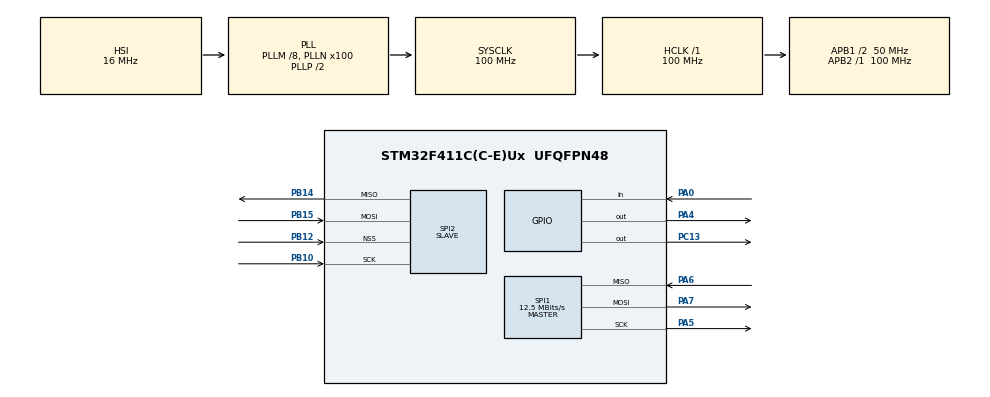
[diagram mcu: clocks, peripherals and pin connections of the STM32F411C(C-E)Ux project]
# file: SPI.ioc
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Mcu.Family=STM32F4
Mcu.Name=STM32F411C(C-E)Ux
Mcu.Package=UFQFPN48
NVIC.PriorityGroup=NVIC_PRIORITYGROUP_4
NVIC.SPI1_IRQn=true\:0\:0\:false\:false\:true\:true\:true\:true
NVIC.SPI2_IRQn=true\:0\:0\:true\:false\:true\:true\:true\:true
PA0-WKUP.GPIO_PuPd=GPIO_PULLUP
PA0-WKUP.Signal=GPIO_Input
PA13.Mode=Serial_Wire
PA13.Signal=SYS_JTMS-SWDIO
PA14.Mode=Serial_Wire
PA14.Signal=SYS_JTCK-SWCLK
PA4.Signal=GPIO_Output
PA5.Mode=Full_Duplex_Master
PA5.Signal=SPI1_SCK
PA6.Mode=Full_Duplex_Master
PA6.Signal=SPI1_MISO
PA7.Mode=Full_Duplex_Master
PA7.Signal=SPI1_MOSI
PB10.Mode=Full_Duplex_Slave
PB10.Signal=SPI2_SCK
PB12.Mode=NSS_Signal_Hard_Input
PB12.Signal=SPI2_NSS
PB14.Mode=Full_Duplex_Slave
PB14.Signal=SPI2_MISO
PB15.Mode=Full_Duplex_Slave
PB15.Signal=SPI2_MOSI
PC13-ANTI_TAMP.Signal=GPIO_Output
PH0\ -\ OSC_IN.Mode=HSE-External-Oscillator
PH0\ -\ OSC_IN.Signal=RCC_OSC_IN
PH1\ -\ OSC_OUT.Mode=HSE-External-Oscillator
PH1\ -\ OSC_OUT.Signal=RCC_OSC_OUT
ProjectManager.HeapSize=0x200
ProjectManager.StackSize=0x400
ProjectManager.TargetToolchain=STM32CubeIDE
RCC.48MHZClocksFreq_Value=50000000
RCC.AHBFreq_Value=100000000
RCC.APB1CLKDivider=RCC_HCLK_DIV2
RCC.APB1Freq_Value=50000000
RCC.APB1TimFreq_Value=100000000
RCC.APB2Freq_Value=100000000
RCC.APB2TimFreq_Value=100000000
RCC.CortexFreq_Value=100000000
RCC.HCLKFreq_Value=100000000
RCC.HSE_VALUE=25000000
RCC.HSI_VALUE=16000000
RCC.LSE_VALUE=32768
RCC.PLLM=8
RCC.PLLN=100
RCC.SYSCLKFreq_VALUE=100000000
RCC.SYSCLKSource=RCC_SYSCLKSOURCE_PLLCLK
RCC.VCOOutputFreq_Value=200000000
SPI1.BaudRatePrescaler=SPI_BAUDRATEPRESCALER_8
SPI1.CalculateBaudRate=12.5 MBits/s
SPI1.Direction=SPI_DIRECTION_2LINES
SPI1.Mode=SPI_MODE_MASTER
SPI1.VirtualType=VM_MASTER
SPI2.Direction=SPI_DIRECTION_2LINES
SPI2.Mode=SPI_MODE_SLAVE
SPI2.VirtualNSS=VM_NSSHARD
SPI2.VirtualType=VM_SLAVE
board=custom

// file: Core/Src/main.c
/* USER CODE BEGIN Header */
/**
  ******************************************************************************
  * @file           : main.c
  * @brief          : Main program body
  ******************************************************************************
  * @attention
  *
  * Copyright (c) 2023 STMicroelectronics.
  * All rights reserved.
  *
  * This software is licensed under terms that can be found in the LICENSE file
  * in the root directory of this software component.
  * If no LICENSE file comes with this software, it is provided AS-IS.
  *
  ******************************************************************************
  */
/* USER CODE END Header */
#include "main.h"

SPI_HandleTypeDef hspi1;
SPI_HandleTypeDef hspi2;

/* USER CODE BEGIN PV */
uint8_t current_state = 1;
uint8_t last_state = 1;
uint8_t deboucing_state = 1;
uint8_t is_deboucing = 0;
uint32_t deboucing_timer = 0;

uint8_t txBuffer = 0;
uint8_t condition_tx = 0;
uint8_t rxBuffer;
uint8_t SPI_buf;
/* USER CODE END PV */

void SystemClock_Config(void);
static void MX_GPIO_Init(void);
static void MX_SPI1_Init(void);
static void MX_SPI2_Init(void);

/* USER CODE BEGIN 0 */
void TX_SPI()
{

	HAL_GPIO_WritePin(GPIOA, GPIO_PIN_4, GPIO_PIN_RESET);
	HAL_SPI_Transmit(&hspi1, &txBuffer, 1, 100);
	HAL_GPIO_WritePin(GPIOA, GPIO_PIN_4, GPIO_PIN_SET);

}
void BUTTON_Handle()
{
	//detecting
	uint8_t temp_state = HAL_GPIO_ReadPin(GPIOA, GPIO_PIN_0);
	if(temp_state != deboucing_state)
	{
		deboucing_state = temp_state;
		deboucing_timer = HAL_GetTick();
		is_deboucing = 1;
	}

	//debouncing
	if(is_deboucing == 1 && (HAL_GetTick() - deboucing_timer ) >= 15)
	{
		current_state = deboucing_state;
		is_deboucing = 0;
	}

	if(current_state != last_state)
	{
		if(current_state == 0)
		{
			txBuffer = 1;
		}
		else
		{
			txBuffer = 0;
		}
		last_state = current_state;
	}

}
void HAL_SPI_RxCpltCallback(SPI_HandleTypeDef *hspi)
{
	if(hspi->Instance == SPI2)
	{
		SPI_buf = rxBuffer;
		HAL_SPI_Receive_IT(&hspi2, &rxBuffer, 1);
	}
}
void LED_Handle()
{
	if(SPI_buf)
	{
		HAL_GPIO_WritePin(GPIOC, GPIO_PIN_13, 0);
	}
	else
	{
		HAL_GPIO_WritePin(GPIOC, GPIO_PIN_13, 1);
	}
}
/* USER CODE END 0 */

int main(void)
{

  /* MCU Configuration--------------------------------------------------------*/

  /* Reset of all peripherals, Initializes the Flash interface and the Systick. */
  HAL_Init();

  /* USER CODE BEGIN Init *

  /* USER CODE END Init */

  /* Configure the system clock */
  SystemClock_Config();

  /* Initialize all configured peripherals */
  MX_GPIO_Init();
  MX_SPI1_Init();
  MX_SPI2_Init();
  /* USER CODE BEGIN 2 */
	HAL_SPI_Receive_IT(&hspi2, &rxBuffer, 1);
//	HAL_SPI_Transmit(&hspi1, &txBuffer, 1, 100);

  /* USER CODE END 2 */

  /* Infinite loop */
  while (1)
  {

    /* USER CODE BEGIN 3 */
//	  HAL_GPIO_WritePin(GPIOC, GPIO_PIN_13, 1);
	  BUTTON_Handle();
	  TX_SPI();
	  LED_Handle();
  }
  /* USER CODE END 3 */
}

void SystemClock_Config(void)
{
  RCC_OscInitTypeDef RCC_OscInitStruct = {0};
  RCC_ClkInitTypeDef RCC_ClkInitStruct = {0};

  /** Configure the main internal regulator output voltage
  */
  __HAL_RCC_PWR_CLK_ENABLE();
  __HAL_PWR_VOLTAGESCALING_CONFIG(PWR_REGULATOR_VOLTAGE_SCALE1);

  /** Initializes the RCC Oscillators according to the specified parameters
  * in the RCC_OscInitTypeDef structure.
  */
  RCC_OscInitStruct.OscillatorType = RCC_OSCILLATORTYPE_HSI;
  RCC_OscInitStruct.HSIState = RCC_HSI_ON;
  RCC_OscInitStruct.HSICalibrationValue = RCC_HSICALIBRATION_DEFAULT;
  RCC_OscInitStruct.PLL.PLLState = RCC_PLL_ON;
  RCC_OscInitStruct.PLL.PLLSource = RCC_PLLSOURCE_HSI;
  RCC_OscInitStruct.PLL.PLLM = 8;
  RCC_OscInitStruct.PLL.PLLN = 100;
  RCC_OscInitStruct.PLL.PLLP = RCC_PLLP_DIV2;
  RCC_OscInitStruct.PLL.PLLQ = 4;
  if (HAL_RCC_OscConfig(&RCC_OscInitStruct) != HAL_OK)
  {
    Error_Handler();
  }

  /** Initializes the CPU, AHB and APB buses clocks
  */
  RCC_ClkInitStruct.ClockType = RCC_CLOCKTYPE_HCLK|RCC_CLOCKTYPE_SYSCLK
                              |RCC_CLOCKTYPE_PCLK1|RCC_CLOCKTYPE_PCLK2;
  RCC_ClkInitStruct.SYSCLKSource = RCC_SYSCLKSOURCE_PLLCLK;
  RCC_ClkInitStruct.AHBCLKDivider = RCC_SYSCLK_DIV1;
  RCC_ClkInitStruct.APB1CLKDivider = RCC_HCLK_DIV2;
  RCC_ClkInitStruct.APB2CLKDivider = RCC_HCLK_DIV1;

  if (HAL_RCC_ClockConfig(&RCC_ClkInitStruct, FLASH_LATENCY_3) != HAL_OK)
  {
    Error_Handler();
  }
}

static void MX_SPI1_Init(void)
{

  /* SPI1 parameter configuration*/
  hspi1.Instance = SPI1;
  hspi1.Init.Mode = SPI_MODE_MASTER;
  hspi1.Init.Direction = SPI_DIRECTION_2LINES;
  hspi1.Init.DataSize = SPI_DATASIZE_8BIT;
  hspi1.Init.CLKPolarity = SPI_POLARITY_LOW;
  hspi1.Init.CLKPhase = SPI_PHASE_1EDGE;
  hspi1.Init.NSS = SPI_NSS_SOFT;
  hspi1.Init.BaudRatePrescaler = SPI_BAUDRATEPRESCALER_8;
  hspi1.Init.FirstBit = SPI_FIRSTBIT_MSB;
  hspi1.Init.TIMode = SPI_TIMODE_DISABLE;
  hspi1.Init.CRCCalculation = SPI_CRCCALCULATION_DISABLE;
  hspi1.Init.CRCPolynomial = 10;
  if (HAL_SPI_Init(&hspi1) != HAL_OK)
  {
    Error_Handler();
  }

}

static void MX_SPI2_Init(void)
{

  /* SPI2 parameter configuration*/
  hspi2.Instance = SPI2;
  hspi2.Init.Mode = SPI_MODE_SLAVE;
  hspi2.Init.Direction = SPI_DIRECTION_2LINES;
  hspi2.Init.DataSize = SPI_DATASIZE_8BIT;
  hspi2.Init.CLKPolarity = SPI_POLARITY_LOW;
  hspi2.Init.CLKPhase = SPI_PHASE_1EDGE;
  hspi2.Init.NSS = SPI_NSS_HARD_INPUT;
  hspi2.Init.FirstBit = SPI_FIRSTBIT_MSB;
  hspi2.Init.TIMode = SPI_TIMODE_DISABLE;
  hspi2.Init.CRCCalculation = SPI_CRCCALCULATION_DISABLE;
  hspi2.Init.CRCPolynomial = 10;
  if (HAL_SPI_Init(&hspi2) != HAL_OK)
  {
    Error_Handler();
  }

}

static void MX_GPIO_Init(void)
{
  GPIO_InitTypeDef GPIO_InitStruct = {0};

  /* GPIO Ports Clock Enable */
  __HAL_RCC_GPIOC_CLK_ENABLE();
  __HAL_RCC_GPIOH_CLK_ENABLE();
  __HAL_RCC_GPIOA_CLK_ENABLE();
  __HAL_RCC_GPIOB_CLK_ENABLE();

  /*Configure GPIO pin Output Level */
  HAL_GPIO_WritePin(GPIOC, GPIO_PIN_13, GPIO_PIN_RESET);

  /*Configure GPIO pin Output Level */
  HAL_GPIO_WritePin(GPIOA, GPIO_PIN_4, GPIO_PIN_RESET);

  /*Configure GPIO pin : PC13 */
  GPIO_InitStruct.Pin = GPIO_PIN_13;
  GPIO_InitStruct.Mode = GPIO_MODE_OUTPUT_PP;
  GPIO_InitStruct.Pull = GPIO_NOPULL;
  GPIO_InitStruct.Speed = GPIO_SPEED_FREQ_LOW;
  HAL_GPIO_Init(GPIOC, &GPIO_InitStruct);

  /*Configure GPIO pin : PA0 */
  GPIO_InitStruct.Pin = GPIO_PIN_0;
  GPIO_InitStruct.Mode = GPIO_MODE_INPUT;
  GPIO_InitStruct.Pull = GPIO_PULLUP;
  HAL_GPIO_Init(GPIOA, &GPIO_InitStruct);

  /*Configure GPIO pin : PA4 */
  GPIO_InitStruct.Pin = GPIO_PIN_4;
  GPIO_InitStruct.Mode = GPIO_MODE_OUTPUT_PP;
  GPIO_InitStruct.Pull = GPIO_NOPULL;
  GPIO_InitStruct.Speed = GPIO_SPEED_FREQ_LOW;
  HAL_GPIO_Init(GPIOA, &GPIO_InitStruct);

}

void Error_Handler(void)
{
  __disable_irq();
  while (1)
  {
  }
}
